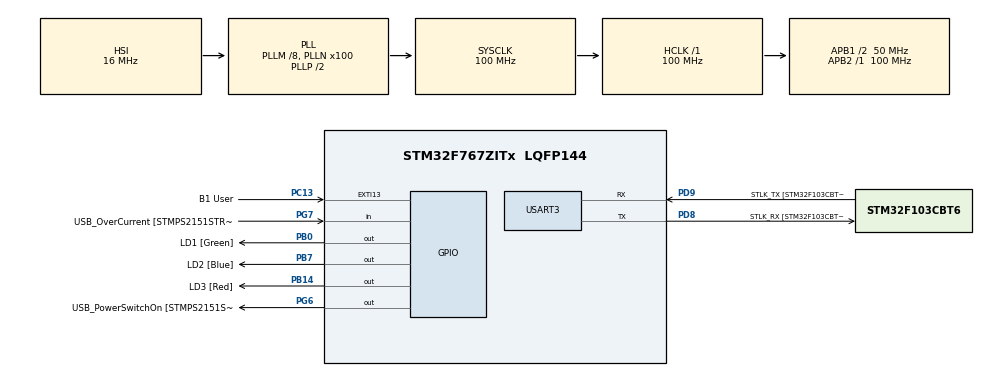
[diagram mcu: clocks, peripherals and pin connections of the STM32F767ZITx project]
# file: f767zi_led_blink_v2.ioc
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Mcu.Family=STM32F7
Mcu.Name=STM32F767ZITx
Mcu.Package=LQFP144
NVIC.PriorityGroup=NVIC_PRIORITYGROUP_4
PA1.GPIO_Label=RMII_REF_CLK [LAN8742A-CZ-TR_REFCLK0]
PA1.Signal=ETH_REF_CLK
PA10.GPIO_Label=USB_ID
PA10.Signal=USB_OTG_FS_ID
PA11.GPIO_Label=USB_DM
PA11.Signal=USB_OTG_FS_DM
PA12.GPIO_Label=USB_DP
PA12.Signal=USB_OTG_FS_DP
PA13.GPIO_Label=TMS
PA13.Mode=Trace_Asynchronous_SW
PA13.Signal=SYS_JTMS-SWDIO
PA14.GPIO_Label=TCK
PA14.Mode=Trace_Asynchronous_SW
PA14.Signal=SYS_JTCK-SWCLK
PA2.GPIO_Label=RMII_MDIO [LAN8742A-CZ-TR_MDIO]
PA2.Signal=ETH_MDIO
PA7.GPIO_Label=RMII_CRS_DV [LAN8742A-CZ-TR_CRS_DV]
PA7.Signal=ETH_CRS_DV
PA8.GPIO_Label=USB_SOF [TP1]
PA8.Signal=USB_OTG_FS_SOF
PA9.GPIO_Label=USB_VBUS
PA9.Signal=USB_OTG_FS_VBUS
PB0.GPIO_Label=LD1 [Green]
PB0.Signal=GPIO_Output
PB13.GPIO_Label=RMII_TXD1 [LAN8742A-CZ-TR_TXD1]
PB13.Signal=ETH_TXD1
PB14.GPIO_Label=LD3 [Red]
PB14.Signal=GPIO_Output
PB3.GPIO_Label=SW0
PB3.Mode=Trace_Asynchronous_SW
PB3.Signal=SYS_JTDO-SWO
PB7.GPIO_Label=LD2 [Blue]
PB7.Signal=GPIO_Output
PC1.GPIO_Label=RMII_MDC [LAN8742A-CZ-TR_MDC]
PC1.Signal=ETH_MDC
PC13.GPIO_Label=B1 User
PC13.Signal=GPXTI13
PC14/OSC32_IN.Signal=RCC_OSC32_IN
PC15/OSC32_OUT.Signal=RCC_OSC32_OUT
PC4.GPIO_Label=RMII_RXD0 [LAN8742A-CZ-TR_RXD0]
PC4.Signal=ETH_RXD0
PC5.GPIO_Label=RMII_RXD1 [LAN8742A-CZ-TR_RXD1]
PC5.Signal=ETH_RXD1
PD8.GPIO_Label=STLK_RX [STM32F103CBT6_PA3]
PD8.Mode=Asynchronous
PD8.Signal=USART3_TX
PD9.GPIO_Label=STLK_TX [STM32F103CBT6_PA2]
PD9.Mode=Asynchronous
PD9.Signal=USART3_RX
PG11.GPIO_Label=RMII_TX_EN [LAN8742A-CZ-TR_TXEN]
PG11.Signal=ETH_TX_EN
PG13.GPIO_Label=RMII_TXD0 [LAN8742A-CZ-TR_TXD0]
PG13.Signal=ETH_TXD0
PG6.GPIO_Label=USB_PowerSwitchOn [STMPS2151STR_EN]
PG6.Signal=GPIO_Output
PG7.GPIO_Label=USB_OverCurrent [STMPS2151STR_FAULT]
PG7.Signal=GPIO_Input
PH0/OSC_IN.GPIO_Label=MCO [STM32F103CBT6_PA8]
PH0/OSC_IN.Mode=HSE-External-Oscillator
PH0/OSC_IN.Signal=RCC_OSC_IN
PH1/OSC_OUT.Mode=HSE-External-Oscillator
PH1/OSC_OUT.Signal=RCC_OSC_OUT
ProjectManager.HeapSize=0x200
ProjectManager.StackSize=0x400
ProjectManager.TargetToolchain=STM32CubeIDE
RCC.48MHZClocksFreq_Value=24000000
RCC.AHBFreq_Value=100000000
RCC.APB1CLKDivider=RCC_HCLK_DIV2
RCC.APB1Freq_Value=50000000
RCC.APB1TimFreq_Value=100000000
RCC.APB2Freq_Value=100000000
RCC.APB2TimFreq_Value=100000000
RCC.CortexFreq_Value=100000000
RCC.HCLKFreq_Value=100000000
RCC.HSE_VALUE=25000000
RCC.HSI_VALUE=16000000
RCC.LSE_VALUE=32768
RCC.PLLM=8
RCC.PLLMUL=RCC_PLL_MUL9
RCC.PLLN=100
RCC.PRESCALERUSB=RCC_USBCLKSOURCE_PLL_DIV1_5
RCC.SYSCLKFreq_VALUE=100000000
RCC.SYSCLKSource=RCC_SYSCLKSOURCE_PLLCLK
RCC.SYSCLKSourceVirtual=RCC_SYSCLKSOURCE_PLLCLK
RCC.USBFreq_Value=100000000
RCC.VCOOutputFreq_Value=200000000
USART3.VirtualMode-Asynchronous=VM_ASYNC
board=NUCLEO-F767ZI

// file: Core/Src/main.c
/* USER CODE BEGIN Header */
/**
  ******************************************************************************
  * @file           : main.c
  * @brief          : Main program body
  ******************************************************************************
  * @attention
  *
  * Copyright (c) 2025 STMicroelectronics.
  * All rights reserved.
  *
  * This software is licensed under terms that can be found in the LICENSE file
  * in the root directory of this software component.
  * If no LICENSE file comes with this software, it is provided AS-IS.
  *
  ******************************************************************************
  */
/* USER CODE END Header */
#include "main.h"

/* USER CODE BEGIN Includes */
# include "stdio.h"
/* USER CODE END Includes */

UART_HandleTypeDef huart3;

void SystemClock_Config(void);
static void MX_GPIO_Init(void);
static void MX_USART3_UART_Init(void);

/* USER CODE BEGIN 0 */

// send printf to uart1
int _write(int fd, char* ptr, int len){
	HAL_StatusTypeDef hstatus;

	if (fd==1 || fd == 2) {
		hstatus = HAL_UART_Transmit(&huart3, (uint8_t *) ptr, len, HAL_MAX_DELAY);
		if (hstatus == HAL_OK)
			return len;
		else
			return -1;
	}
	return -1;
}

/* USER CODE END 0 */

int main(void)
{

  /* MCU Configuration--------------------------------------------------------*/

  /* Reset of all peripherals, Initializes the Flash interface and the Systick. */
  HAL_Init();

  /* Configure the system clock */
  SystemClock_Config();

  /* Initialize all configured peripherals */
  MX_GPIO_Init();
  MX_USART3_UART_Init();
  /* USER CODE BEGIN 2 */
  uint32_t now = 0,last_print=0;
  printf("First application starting\r\n");
  /* USER CODE END 2 */

  /* Infinite loop */
  while (1)
  {

    /* USER CODE BEGIN 3 */
	  now = HAL_GetTick();
	  if (now - last_print >= 1000){
		  printf("Loop %lu \r\n",now);
		  last_print = now;
	  }
  }
  /* USER CODE END 3 */
}

void SystemClock_Config(void)
{
  RCC_OscInitTypeDef RCC_OscInitStruct = {0};
  RCC_ClkInitTypeDef RCC_ClkInitStruct = {0};

  /** Configure the main internal regulator output voltage
  */
  __HAL_RCC_PWR_CLK_ENABLE();
  __HAL_PWR_VOLTAGESCALING_CONFIG(PWR_REGULATOR_VOLTAGE_SCALE3);

  /** Initializes the RCC Oscillators according to the specified parameters
  * in the RCC_OscInitTypeDef structure.
  */
  RCC_OscInitStruct.OscillatorType = RCC_OSCILLATORTYPE_HSI;
  RCC_OscInitStruct.HSIState = RCC_HSI_ON;
  RCC_OscInitStruct.HSICalibrationValue = RCC_HSICALIBRATION_DEFAULT;
  RCC_OscInitStruct.PLL.PLLState = RCC_PLL_ON;
  RCC_OscInitStruct.PLL.PLLSource = RCC_PLLSOURCE_HSI;
  RCC_OscInitStruct.PLL.PLLM = 8;
  RCC_OscInitStruct.PLL.PLLN = 100;
  RCC_OscInitStruct.PLL.PLLP = RCC_PLLP_DIV2;
  RCC_OscInitStruct.PLL.PLLQ = 2;
  RCC_OscInitStruct.PLL.PLLR = 2;
  if (HAL_RCC_OscConfig(&RCC_OscInitStruct) != HAL_OK)
  {
    Error_Handler();
  }

  /** Activate the Over-Drive mode
  */
  if (HAL_PWREx_EnableOverDrive() != HAL_OK)
  {
    Error_Handler();
  }

  /** Initializes the CPU, AHB and APB buses clocks
  */
  RCC_ClkInitStruct.ClockType = RCC_CLOCKTYPE_HCLK|RCC_CLOCKTYPE_SYSCLK
                              |RCC_CLOCKTYPE_PCLK1|RCC_CLOCKTYPE_PCLK2;
  RCC_ClkInitStruct.SYSCLKSource = RCC_SYSCLKSOURCE_PLLCLK;
  RCC_ClkInitStruct.AHBCLKDivider = RCC_SYSCLK_DIV1;
  RCC_ClkInitStruct.APB1CLKDivider = RCC_HCLK_DIV2;
  RCC_ClkInitStruct.APB2CLKDivider = RCC_HCLK_DIV1;

  if (HAL_RCC_ClockConfig(&RCC_ClkInitStruct, FLASH_LATENCY_3) != HAL_OK)
  {
    Error_Handler();
  }
}

static void MX_USART3_UART_Init(void)
{

  huart3.Instance = USART3;
  huart3.Init.BaudRate = 115200;
  huart3.Init.WordLength = UART_WORDLENGTH_8B;
  huart3.Init.StopBits = UART_STOPBITS_1;
  huart3.Init.Parity = UART_PARITY_NONE;
  huart3.Init.Mode = UART_MODE_TX_RX;
  huart3.Init.HwFlowCtl = UART_HWCONTROL_NONE;
  huart3.Init.OverSampling = UART_OVERSAMPLING_16;
  huart3.Init.OneBitSampling = UART_ONE_BIT_SAMPLE_DISABLE;
  huart3.AdvancedInit.AdvFeatureInit = UART_ADVFEATURE_NO_INIT;
  if (HAL_UART_Init(&huart3) != HAL_OK)
  {
    Error_Handler();
  }

}

static void MX_GPIO_Init(void)
{
  GPIO_InitTypeDef GPIO_InitStruct = {0};

  /* GPIO Ports Clock Enable */
  __HAL_RCC_GPIOC_CLK_ENABLE();
  __HAL_RCC_GPIOH_CLK_ENABLE();
  __HAL_RCC_GPIOA_CLK_ENABLE();
  __HAL_RCC_GPIOB_CLK_ENABLE();
  __HAL_RCC_GPIOD_CLK_ENABLE();
  __HAL_RCC_GPIOG_CLK_ENABLE();

  /*Configure GPIO pin Output Level */
  HAL_GPIO_WritePin(GPIOB, LD1_Pin|LD3_Pin|LD2_Pin, GPIO_PIN_RESET);

  /*Configure GPIO pin Output Level */
  HAL_GPIO_WritePin(USB_PowerSwitchOn_GPIO_Port, USB_PowerSwitchOn_Pin, GPIO_PIN_RESET);

  /*Configure GPIO pin : B1_User_Pin */
  GPIO_InitStruct.Pin = B1_User_Pin;
  GPIO_InitStruct.Mode = GPIO_MODE_IT_RISING;
  GPIO_InitStruct.Pull = GPIO_NOPULL;
  HAL_GPIO_Init(B1_User_GPIO_Port, &GPIO_InitStruct);

  /*Configure GPIO pins : RMII_MDC_Pin RMII_RXD0_Pin RMII_RXD1_Pin */
  GPIO_InitStruct.Pin = RMII_MDC_Pin|RMII_RXD0_Pin|RMII_RXD1_Pin;
  GPIO_InitStruct.Mode = GPIO_MODE_AF_PP;
  GPIO_InitStruct.Pull = GPIO_NOPULL;
  GPIO_InitStruct.Speed = GPIO_SPEED_FREQ_VERY_HIGH;
  GPIO_InitStruct.Alternate = GPIO_AF11_ETH;
  HAL_GPIO_Init(GPIOC, &GPIO_InitStruct);

  /*Configure GPIO pins : RMII_REF_CLK_Pin RMII_MDIO_Pin RMII_CRS_DV_Pin */
  GPIO_InitStruct.Pin = RMII_REF_CLK_Pin|RMII_MDIO_Pin|RMII_CRS_DV_Pin;
  GPIO_InitStruct.Mode = GPIO_MODE_AF_PP;
  GPIO_InitStruct.Pull = GPIO_NOPULL;
  GPIO_InitStruct.Speed = GPIO_SPEED_FREQ_VERY_HIGH;
  GPIO_InitStruct.Alternate = GPIO_AF11_ETH;
  HAL_GPIO_Init(GPIOA, &GPIO_InitStruct);

  /*Configure GPIO pins : LD1_Pin LD3_Pin LD2_Pin */
  GPIO_InitStruct.Pin = LD1_Pin|LD3_Pin|LD2_Pin;
  GPIO_InitStruct.Mode = GPIO_MODE_OUTPUT_PP;
  GPIO_InitStruct.Pull = GPIO_NOPULL;
  GPIO_InitStruct.Speed = GPIO_SPEED_FREQ_LOW;
  HAL_GPIO_Init(GPIOB, &GPIO_InitStruct);

  /*Configure GPIO pin : RMII_TXD1_Pin */
  GPIO_InitStruct.Pin = RMII_TXD1_Pin;
  GPIO_InitStruct.Mode = GPIO_MODE_AF_PP;
  GPIO_InitStruct.Pull = GPIO_NOPULL;
  GPIO_InitStruct.Speed = GPIO_SPEED_FREQ_VERY_HIGH;
  GPIO_InitStruct.Alternate = GPIO_AF11_ETH;
  HAL_GPIO_Init(RMII_TXD1_GPIO_Port, &GPIO_InitStruct);

  /*Configure GPIO pin : USB_PowerSwitchOn_Pin */
  GPIO_InitStruct.Pin = USB_PowerSwitchOn_Pin;
  GPIO_InitStruct.Mode = GPIO_MODE_OUTPUT_PP;
  GPIO_InitStruct.Pull = GPIO_NOPULL;
  GPIO_InitStruct.Speed = GPIO_SPEED_FREQ_LOW;
  HAL_GPIO_Init(USB_PowerSwitchOn_GPIO_Port, &GPIO_InitStruct);

  /*Configure GPIO pin : USB_OverCurrent_Pin */
  GPIO_InitStruct.Pin = USB_OverCurrent_Pin;
  GPIO_InitStruct.Mode = GPIO_MODE_INPUT;
  GPIO_InitStruct.Pull = GPIO_NOPULL;
  HAL_GPIO_Init(USB_OverCurrent_GPIO_Port, &GPIO_InitStruct);

  /*Configure GPIO pins : USB_SOF_Pin USB_ID_Pin USB_DM_Pin USB_DP_Pin */
  GPIO_InitStruct.Pin = USB_SOF_Pin|USB_ID_Pin|USB_DM_Pin|USB_DP_Pin;
  GPIO_InitStruct.Mode = GPIO_MODE_AF_PP;
  GPIO_InitStruct.Pull = GPIO_NOPULL;
  GPIO_InitStruct.Speed = GPIO_SPEED_FREQ_VERY_HIGH;
  GPIO_InitStruct.Alternate = GPIO_AF10_OTG_FS;
  HAL_GPIO_Init(GPIOA, &GPIO_InitStruct);

  /*Configure GPIO pin : USB_VBUS_Pin */
  GPIO_InitStruct.Pin = USB_VBUS_Pin;
  GPIO_InitStruct.Mode = GPIO_MODE_INPUT;
  GPIO_InitStruct.Pull = GPIO_NOPULL;
  HAL_GPIO_Init(USB_VBUS_GPIO_Port, &GPIO_InitStruct);

  /*Configure GPIO pins : RMII_TX_EN_Pin RMII_TXD0_Pin */
  GPIO_InitStruct.Pin = RMII_TX_EN_Pin|RMII_TXD0_Pin;
  GPIO_InitStruct.Mode = GPIO_MODE_AF_PP;
  GPIO_InitStruct.Pull = GPIO_NOPULL;
  GPIO_InitStruct.Speed = GPIO_SPEED_FREQ_VERY_HIGH;
  GPIO_InitStruct.Alternate = GPIO_AF11_ETH;
  HAL_GPIO_Init(GPIOG, &GPIO_InitStruct);

}

void Error_Handler(void)
{
  __disable_irq();
  while (1)
  {
  }
}
